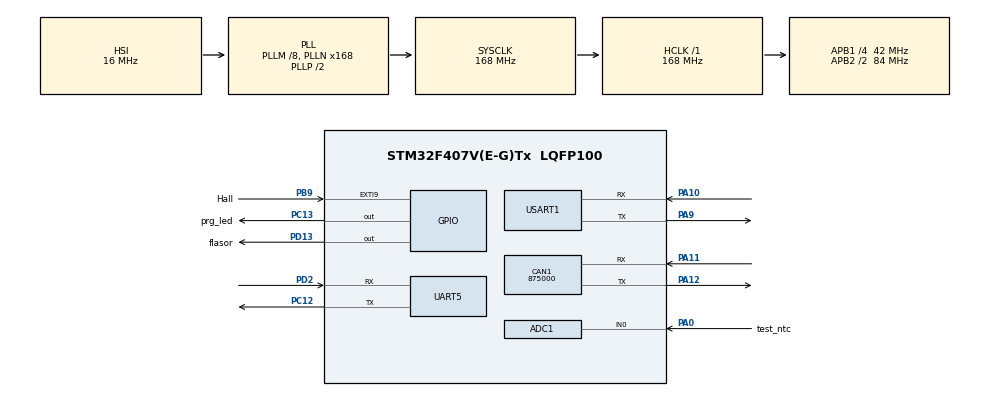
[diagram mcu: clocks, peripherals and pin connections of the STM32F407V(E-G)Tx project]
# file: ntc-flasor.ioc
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ADC1.Channel-0\#ChannelRegularConversion=ADC_CHANNEL_0
ADC1.NbrOfConversionFlag=1
ADC1.Rank-0\#ChannelRegularConversion=1
ADC1.SamplingTime-0\#ChannelRegularConversion=ADC_SAMPLETIME_3CYCLES
ADC1.master=1
CAN1.BS1=CAN_BS1_1TQ
CAN1.BS2=CAN_BS2_1TQ
CAN1.CalculateBaudRate=875000
CAN1.CalculateTimeBit=1142
CAN1.CalculateTimeQuantum=380.95238095238096
Mcu.Family=STM32F4
Mcu.Name=STM32F407V(E-G)Tx
Mcu.Package=LQFP100
NVIC.CAN1_RX0_IRQn=true\:0\:0\:false\:false\:true\:true\:true\:true
NVIC.PriorityGroup=NVIC_PRIORITYGROUP_4
PA0-WKUP.GPIO_Label=test_ntc
PA0-WKUP.Signal=ADCx_IN0
PA10.Mode=Asynchronous
PA10.Signal=USART1_RX
PA11.Mode=CAN_Activate
PA11.Signal=CAN1_RX
PA12.Mode=CAN_Activate
PA12.Signal=CAN1_TX
PA13.Mode=Serial_Wire
PA13.Signal=SYS_JTMS-SWDIO
PA14.Mode=Serial_Wire
PA14.Signal=SYS_JTCK-SWCLK
PA9.Mode=Asynchronous
PA9.Signal=USART1_TX
PB9.GPIO_Label=Hall
PB9.Signal=GPXTI9
PC12.Mode=Asynchronous
PC12.Signal=UART5_TX
PC13-ANTI_TAMP.GPIO_Label=prg_led
PC13-ANTI_TAMP.Signal=GPIO_Output
PD13.GPIO_Label=flasor
PD13.Signal=GPIO_Output
PD2.Mode=Asynchronous
PD2.Signal=UART5_RX
PH0-OSC_IN.Mode=HSE-External-Oscillator
PH0-OSC_IN.Signal=RCC_OSC_IN
PH1-OSC_OUT.Mode=HSE-External-Oscillator
PH1-OSC_OUT.Signal=RCC_OSC_OUT
ProjectManager.HeapSize=0x200
ProjectManager.StackSize=0x400
ProjectManager.TargetToolchain=STM32CubeIDE
RCC.48MHZClocksFreq_Value=84000000
RCC.AHBFreq_Value=168000000
RCC.APB1CLKDivider=RCC_HCLK_DIV4
RCC.APB1Freq_Value=42000000
RCC.APB1TimFreq_Value=84000000
RCC.APB2CLKDivider=RCC_HCLK_DIV2
RCC.APB2Freq_Value=84000000
RCC.APB2TimFreq_Value=168000000
RCC.CortexFreq_Value=168000000
RCC.HCLKFreq_Value=168000000
RCC.HSE_VALUE=25000000
RCC.HSI_VALUE=16000000
RCC.LSE_VALUE=32768
RCC.PLLM=8
RCC.PLLN=168
RCC.SYSCLKFreq_VALUE=168000000
RCC.SYSCLKSource=RCC_SYSCLKSOURCE_PLLCLK
RCC.VCOOutputFreq_Value=336000000
SH.ADCx_IN0.0=ADC1_IN0,IN0
UART5.VirtualMode=Asynchronous
USART1.VirtualMode=VM_ASYNC
VP_FATFS_VS_Generic.Mode=User_defined
board=custom

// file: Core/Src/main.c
/* USER CODE BEGIN Header */
/**
  ******************************************************************************
  * @file           : main.c
  * @brief          : Main program body
  ******************************************************************************
  * @attention
  *
  * Copyright (c) 2025 STMicroelectronics.
  * All rights reserved.
  *
  * This software is licensed under terms that can be found in the LICENSE file
  * in the root directory of this software component.
  * If no LICENSE file comes with this software, it is provided AS-IS.
  *
  ******************************************************************************
  */
/* USER CODE END Header */
#include "main.h"
#include "fatfs.h"

/* USER CODE BEGIN Includes */
#include <math.h>
#include<stdio.h>
#include<string.h>
#include<stdlib.h>
#include <time.h>
//#include "fatfs_sd.h"
#define ADC_COUNTS  (1<<12)
/* USER CODE END Includes */

ADC_HandleTypeDef hadc1;

CAN_HandleTypeDef hcan1;

UART_HandleTypeDef huart5;
UART_HandleTypeDef huart1;

/* USER CODE BEGIN PV */
uint16_t testTemp_analog;
float testTemp=0;

int sizedata;
int virgulOncesi;
int virgulSonrasi;
char datatxt[5];
//-----------------HALL DEGISKENLERI--------------------------------------------
uint32_t last_time = 0;        // onceki Hall sensoru tetiklenme hızı
uint32_t current_time = 0;     // su anki Hall sensoru tetiklenme zamanı
float time_diff = 0;           // ilk ve son zaman arası fark (saniye)
float frequency = 0;           // tekerlegin donus frekansı (Hz)
float rpm = 0;                 // RPM (dakikadaki devir sayısı)
float hall_speed = 0;               // Hız (km/saat)
//------------------------------------------------------------------------------
// Sabit veri iletim yapısını tanımlar.
typedef struct fixedStransmission
{
	uint8_t ADDH;
	uint8_t ADDL;
	uint8_t CHAN;
	unsigned char message[];
}FixedStransmission;
// Bu yapı için bellekten alan ayırır.
FixedStransmission *init_stack(int m){
	FixedStransmission *st = (FixedStransmission *)malloc(sizeof(FixedStransmission)+m*sizeof(int));
    return st;
}
uint32_t TxMailbox;//cande gönderilecek mesajların tutulduğu yer.

uint16_t motorTemp_analog;
float motorTemp;

uint8_t nextionEnd[3] = {0xFF,0xFF,0xFF};////her komut sonrasi gonderilmesi gerekir ekran bu sayede komutun bittigini anlar
//-----------sd kartta dosya işlemleri için gereken komutlar-------------------------
char fileName[20];
FRESULT res;
FATFS fs;  // file system
FIL fil; // File
FILINFO fno;
FRESULT fresult;  // result
UINT br, bw;  // File read/write count
//--------------------------------------------------------------------------------
/**** sd kart kapasitesi için gerekli *****/
FATFS *pfs;
DWORD fre_clust;
uint32_t total;
uint32_t free_space;

//---------------AKIM OLCUM DEGISKENLERI--------------------
char buffer[128];
    double Irms;
    double ICAL;
    int sampleI;
    double filteredI;
    double offsetI;                          //Low-pass filter output
    double sqI,sumI;            //sq = squared, sum = Sum, inst = instantaneous                                     //Instantaneous voltage at start of sample window.

   // boolean lastVCross, checkVCross;

//-----------AKI SENSORUNUN bağlı olduğu pin---------------------
unsigned int inPinI = 1;
double ICAL = 111.1;
double offsetI = ADC_COUNTS>>1;
//---------------------------------------------------------------

/* USER CODE END PV */

void SystemClock_Config(void);
static void MX_GPIO_Init(void);
static void MX_ADC1_Init(void);
static void MX_CAN1_Init(void);
static void MX_UART5_Init(void);
static void MX_USART1_UART_Init(void);
/* USER CODE BEGIN PFP */
double Thermistor(uint16_t analogValue);	//ntc sıcaklık verisinin fonksiyonu

void send_at_command(char *command, uint16_t delay);
void send_data_to_server(float voltages[20], float temperatures[6], float current, float speed, float energy, float voltage_sum);
void send_data_cont(float voltages[20], float temperatures[6], float current, float speed, float energy, float voltage_sum);

void getCAN1(CAN_RxHeaderTypeDef *RxHeader1, float *dataReceive);
void sendFixedMessage( uint8_t ADDH,uint8_t ADDL, uint8_t CHAN, const void *message, const uint8_t size);

void sendNextion();
uint8_t def_msb(float value);
uint8_t def_lsb(float value);
void txtNextion(char *location, float data);
void numNextion(char *location, int data);
void picNextion(char *location, int data);
void ppicNextion(char *location, int data);
void progbarNextion(char *location, int data);
void inttxtNextion(char *location, int data);
double calcIrms(unsigned int Number_of_Samples);
void create_new_file();

/* USER CODE END PFP */

/* USER CODE BEGIN 0 */
struct carData{
	  float voltage1;
	  float voltage2;
	  float voltage3;
	  float voltage4;
	  float voltage5;
	  float voltage6;
	  float voltage7;
	  float voltage8;
	  float voltage9;
	  float voltage10;
	  float voltage11;
	  float voltage12;
	  float voltage13;
	  float voltage14;
	  float voltage15;
	  float voltage16;
	  float voltage17;
	  float voltage18;
	  float voltage19;
	  float voltage20;
	  float totalVoltage;
	  float batteryTemp1;
	  float batteryTemp2;
	  float batteryTemp3;
	  float batteryTemp4;
	  float testTemp;
	  float motorTemp;
	  float speed;
	  float current;
	  float remainEnergy;
}data1;

uint8_t rxBuffer[128];
uint8_t rxIndex = 0;
uint8_t rxData = 0;

//--------CAN MESAJ ALIMI------------------------------
void HAL_CAN_RxFifo0MsgPendingCallback(CAN_HandleTypeDef *hcan)
{
    CAN_RxHeaderTypeDef RxHeader1;
    float dataReceive[2];
    HAL_GPIO_WritePin(prg_led_GPIO_Port, prg_led_Pin, 1);

    if (HAL_CAN_GetRxMessage(hcan, CAN_RX_FIFO0, &RxHeader1, dataReceive) == HAL_OK)
    {
        getCAN1(&RxHeader1, dataReceive);
    }

}
//---------------HALL SENSORU-----------------------------------------------------------
void HAL_GPIO_EXTI_Callback(uint16_t GPIO_Pin) {
    if (GPIO_Pin == Hall_Pin) {  // Hall sensÃ¶rÃ¼ GPIO_PIN_0'da baÄŸlÄ±

        // Zaman damgasini al (milisaniye cinsinden)
        current_time = HAL_GetTick();  // Timer'dan gelen saniyeyi al (ms cinsinden)

        // Eger daha önce bir tetikleme olduysa, zaman farkini hesapla
        if (last_time != 0) {
            // Zaman farkini milisaniyeden saniyeye cevir
            time_diff = (current_time - last_time) / 1000.0;  // ms -> saniye

            // frekansi hesapla (frekans = 1 / zaman farki)
            frequency = 1.0 / time_diff;

            // RPM'yi hesapla (frekans * 60)
            rpm = frequency * 60.0;

            // hizi hesapla (hiz = cevre * frekans) ve km/saat'e cevir
            hall_speed = (1.35 * frequency) * 3.6;

            // hiz ve RPM degerlerini terminale yazdir
            //printf("Hiz: %.2f km/h, RPM: %.2f\r\n", speed, rpm);
        }

        // su anki zamani "last_time" olarak guncelle
        last_time = current_time;
    }
}

/* USER CODE END 0 */

int main(void)
{

  /* MCU Configuration--------------------------------------------------------*/

  /* Reset of all peripherals, Initializes the Flash interface and the Systick. */
  HAL_Init();

  /* Configure the system clock */
  SystemClock_Config();

  /* Initialize all configured peripherals */
  MX_GPIO_Init();
  MX_ADC1_Init();
  MX_CAN1_Init();
  MX_UART5_Init();
  MX_USART1_UART_Init();
  MX_FATFS_Init();
  /* USER CODE BEGIN 2 */

  data1.testTemp = 0;
  data1.totalVoltage = 0;
  data1.batteryTemp1= 0;
  data1.batteryTemp2 = 0;
  data1.batteryTemp3 = 0;
  data1.batteryTemp4 = 0;

  create_new_file();

    HAL_CAN_Start(&hcan1);
    HAL_CAN_ActivateNotification(&hcan1, CAN_IT_RX_FIFO0_MSG_PENDING);
   // lwgps_init(&gps);
    HAL_UART_Receive_IT(&huart5, &rxData, 1);

//----------------SERVERE İLK GÖNDERİM (99.99)------------------------------------
  float voltages[20] = {
         	             99.99, 99.99, 99.99, 99.99, 99.99, 99.99, 99.99, 99.99, 99.99, 99.99,
         	             99.99, 99.99, 99.99, 99.99, 99.99, 99.99, 99.99, 99.99, 99.99, 99.99};

         	  float temperatures[6] = {99.99, 99.99, 99.99, 99.99, 99.99, 99.99};
         	  float current = 99.99;
         	  float speed = 99.99;
         	  float energy = 99.99;
         	  float voltage_sum = 99.99;

     srand(HAL_GetTick());
     send_data_to_server(voltages, temperatures, current, speed, energy, voltage_sum);
     HAL_Delay(1000);
//-----------------------------------------------------------------------------------------------------
  /* USER CODE END 2 */

  /* Infinite loop */
  while (1)
  {

    /* USER CODE BEGIN 3 */
//---------------------ADC BASLANGIC---------------------------------------------------------------------------------------
	  HAL_ADC_Start(&hadc1);
	  HAL_ADC_PollForConversion(&hadc1, HAL_MAX_DELAY);
	  testTemp_analog = HAL_ADC_GetValue(&hadc1);
	  data1.testTemp = Thermistor(testTemp_analog);
	  HAL_ADC_Stop(&hadc1);
//------------------------------------------------------------------------------------------------------------------------
//------------------PRORAMLANABİLİR LED------------------------------------------------
	  HAL_GPIO_WritePin(prg_led_GPIO_Port, prg_led_Pin, 1);
	  HAL_Delay(100);
//--------------------------------------------------------------------------------------
//--------------------TEST SICAKLIGINA GORE FLASOR YANMASI--------------------------------------
	  if(data1.testTemp<0){
	  	data1.testTemp = 0;
	  }
	  else{
		  data1.testTemp = data1.testTemp;
	  	 }

	  	if(data1.testTemp>65){

	  HAL_GPIO_WritePin(flasor_GPIO_Port, flasor_Pin, 1);

		  }
 	  		  else{

	  HAL_GPIO_WritePin(flasor_GPIO_Port, flasor_Pin, 0);
	    }
//--------------------------------------------------------------------------------------------
	  data1.speed=hall_speed;// HALL EFFECT
//-------------------GSM GÖNDERİM---------------------------------
	  float voltages[20] = {
	  	((float)(rand()%40)), ((float)(rand()%40)), ((float)(rand()%40)), ((float)(rand()%40)), ((float)(rand()%40)), ((float)(rand()%40)), ((float)(rand()%40)), ((float)(rand()%40)), ((float)(rand()%40)), ((float)(rand()%40)),
	  	 		((float)(rand()%40)), ((float)(rand()%40)), ((float)(rand()%40)), ((float)(rand()%40)), ((float)(rand()%40)), ((float)(rand()%40)), ((float)(rand()%40)), ((float)(rand()%40)), ((float)(rand()%40))};

	  	float temperatures[6] = {22.3, 23.0, 21.8, 22.5, data1.testTemp, 22.9};
	  	float current = (5+(float)(rand()%30));
	  	float speed = (data1.speed);
	  	float energy = (60+(float)(rand()%102));
	  	float voltage_sum = 250.0;

	 send_data_cont(voltages, temperatures, current, speed, energy, voltage_sum);
	  	 		 	  	    	  //HAL_Delay(10);

	  uint32_t a = HAL_GetTick();;
	  HAL_Delay(50);

//---------------SD KART DOSYA EKLEME----------------------------------------------------------------------------------------------------------

	 	 f_mount(&fs, "", 0);
	 	  f_open(&fil, fileName, FA_OPEN_ALWAYS | FA_WRITE | FA_READ);
	 	  f_lseek(&fil,f_size(&fil));
	 	  //"zaman_ms; hiz_km/h; sicaklik_C; toplamVoltaj_V; kalanEnerji_%\n"
	 	  snprintf(buffer, sizeof(buffer), "%-8lu; %-8d; %-10.2f; %-14.2f; %-13d\n",a,(int)data1.speed,data1.testTemp, data1.totalVoltage,(int)data1.remainEnergy);

	 	  fresult = f_puts(buffer,&fil);
	 	  f_close(&fil);
//--------------------------------------------------------------------------------------------------------------------

	 	 sizedata = sizeof(data1);
	 	 	  sendFixedMessage(0, 2, 25, &data1, sizedata);//CAN PAKETI OLUŞTUTUR VE GONDERIR
	 	 	  sendNextion();//NEXTIONA GONDERİR
//--------------------------------------------------------------------------------------------------------------------
  }
  /* USER CODE END 3 */
}

void SystemClock_Config(void)
{
  RCC_OscInitTypeDef RCC_OscInitStruct = {0};
  RCC_ClkInitTypeDef RCC_ClkInitStruct = {0};

  /** Configure the main internal regulator output voltage
  */
  __HAL_RCC_PWR_CLK_ENABLE();
  __HAL_PWR_VOLTAGESCALING_CONFIG(PWR_REGULATOR_VOLTAGE_SCALE1);

  /** Initializes the RCC Oscillators according to the specified parameters
  * in the RCC_OscInitTypeDef structure.
  */
  RCC_OscInitStruct.OscillatorType = RCC_OSCILLATORTYPE_HSI;
  RCC_OscInitStruct.HSIState = RCC_HSI_ON;
  RCC_OscInitStruct.HSICalibrationValue = RCC_HSICALIBRATION_DEFAULT;
  RCC_OscInitStruct.PLL.PLLState = RCC_PLL_ON;
  RCC_OscInitStruct.PLL.PLLSource = RCC_PLLSOURCE_HSI;
  RCC_OscInitStruct.PLL.PLLM = 8;
  RCC_OscInitStruct.PLL.PLLN = 168;
  RCC_OscInitStruct.PLL.PLLP = RCC_PLLP_DIV2;
  RCC_OscInitStruct.PLL.PLLQ = 4;
  if (HAL_RCC_OscConfig(&RCC_OscInitStruct) != HAL_OK)
  {
    Error_Handler();
  }

  /** Initializes the CPU, AHB and APB buses clocks
  */
  RCC_ClkInitStruct.ClockType = RCC_CLOCKTYPE_HCLK|RCC_CLOCKTYPE_SYSCLK
                              |RCC_CLOCKTYPE_PCLK1|RCC_CLOCKTYPE_PCLK2;
  RCC_ClkInitStruct.SYSCLKSource = RCC_SYSCLKSOURCE_PLLCLK;
  RCC_ClkInitStruct.AHBCLKDivider = RCC_SYSCLK_DIV1;
  RCC_ClkInitStruct.APB1CLKDivider = RCC_HCLK_DIV4;
  RCC_ClkInitStruct.APB2CLKDivider = RCC_HCLK_DIV2;

  if (HAL_RCC_ClockConfig(&RCC_ClkInitStruct, FLASH_LATENCY_5) != HAL_OK)
  {
    Error_Handler();
  }
}

static void MX_ADC1_Init(void)
{

  ADC_ChannelConfTypeDef sConfig = {0};

  /** Configure the global features of the ADC (Clock, Resolution, Data Alignment and number of conversion)
  */
  hadc1.Instance = ADC1;
  hadc1.Init.ClockPrescaler = ADC_CLOCK_SYNC_PCLK_DIV4;
  hadc1.Init.Resolution = ADC_RESOLUTION_12B;
  hadc1.Init.ScanConvMode = DISABLE;
  hadc1.Init.ContinuousConvMode = DISABLE;
  hadc1.Init.DiscontinuousConvMode = DISABLE;
  hadc1.Init.ExternalTrigConvEdge = ADC_EXTERNALTRIGCONVEDGE_NONE;
  hadc1.Init.ExternalTrigConv = ADC_SOFTWARE_START;
  hadc1.Init.DataAlign = ADC_DATAALIGN_RIGHT;
  hadc1.Init.NbrOfConversion = 1;
  hadc1.Init.DMAContinuousRequests = DISABLE;
  hadc1.Init.EOCSelection = ADC_EOC_SINGLE_CONV;
  if (HAL_ADC_Init(&hadc1) != HAL_OK)
  {
    Error_Handler();
  }

  /** Configure for the selected ADC regular channel its corresponding rank in the sequencer and its sample time.
  */
  sConfig.Channel = ADC_CHANNEL_0;
  sConfig.Rank = 1;
  sConfig.SamplingTime = ADC_SAMPLETIME_3CYCLES;
  if (HAL_ADC_ConfigChannel(&hadc1, &sConfig) != HAL_OK)
  {
    Error_Handler();
  }

}

static void MX_CAN1_Init(void)
{

  hcan1.Instance = CAN1;
  hcan1.Init.Prescaler = 16;
  hcan1.Init.Mode = CAN_MODE_NORMAL;
  hcan1.Init.SyncJumpWidth = CAN_SJW_1TQ;
  hcan1.Init.TimeSeg1 = CAN_BS1_1TQ;
  hcan1.Init.TimeSeg2 = CAN_BS2_1TQ;
  hcan1.Init.TimeTriggeredMode = DISABLE;
  hcan1.Init.AutoBusOff = DISABLE;
  hcan1.Init.AutoWakeUp = DISABLE;
  hcan1.Init.AutoRetransmission = DISABLE;
  hcan1.Init.ReceiveFifoLocked = DISABLE;
  hcan1.Init.TransmitFifoPriority = DISABLE;
  if (HAL_CAN_Init(&hcan1) != HAL_OK)
  {
    Error_Handler();
  }

}

static void MX_UART5_Init(void)
{

  huart5.Instance = UART5;
  huart5.Init.BaudRate = 115200;
  huart5.Init.WordLength = UART_WORDLENGTH_8B;
  huart5.Init.StopBits = UART_STOPBITS_1;
  huart5.Init.Parity = UART_PARITY_NONE;
  huart5.Init.Mode = UART_MODE_TX_RX;
  huart5.Init.HwFlowCtl = UART_HWCONTROL_NONE;
  huart5.Init.OverSampling = UART_OVERSAMPLING_16;
  if (HAL_UART_Init(&huart5) != HAL_OK)
  {
    Error_Handler();
  }

}

static void MX_USART1_UART_Init(void)
{

  huart1.Instance = USART1;
  huart1.Init.BaudRate = 115200;
  huart1.Init.WordLength = UART_WORDLENGTH_8B;
  huart1.Init.StopBits = UART_STOPBITS_1;
  huart1.Init.Parity = UART_PARITY_NONE;
  huart1.Init.Mode = UART_MODE_TX_RX;
  huart1.Init.HwFlowCtl = UART_HWCONTROL_NONE;
  huart1.Init.OverSampling = UART_OVERSAMPLING_16;
  if (HAL_UART_Init(&huart1) != HAL_OK)
  {
    Error_Handler();
  }

}

static void MX_GPIO_Init(void)
{
  GPIO_InitTypeDef GPIO_InitStruct = {0};

  /* GPIO Ports Clock Enable */
  __HAL_RCC_GPIOC_CLK_ENABLE();
  __HAL_RCC_GPIOH_CLK_ENABLE();
  __HAL_RCC_GPIOA_CLK_ENABLE();
  __HAL_RCC_GPIOD_CLK_ENABLE();
  __HAL_RCC_GPIOB_CLK_ENABLE();

  /*Configure GPIO pin Output Level */
  HAL_GPIO_WritePin(prg_led_GPIO_Port, prg_led_Pin, GPIO_PIN_RESET);

  /*Configure GPIO pin Output Level */
  HAL_GPIO_WritePin(flasor_GPIO_Port, flasor_Pin, GPIO_PIN_RESET);

  /*Configure GPIO pin : prg_led_Pin */
  GPIO_InitStruct.Pin = prg_led_Pin;
  GPIO_InitStruct.Mode = GPIO_MODE_OUTPUT_PP;
  GPIO_InitStruct.Pull = GPIO_NOPULL;
  GPIO_InitStruct.Speed = GPIO_SPEED_FREQ_LOW;
  HAL_GPIO_Init(prg_led_GPIO_Port, &GPIO_InitStruct);

  /*Configure GPIO pin : flasor_Pin */
  GPIO_InitStruct.Pin = flasor_Pin;
  GPIO_InitStruct.Mode = GPIO_MODE_OUTPUT_PP;
  GPIO_InitStruct.Pull = GPIO_NOPULL;
  GPIO_InitStruct.Speed = GPIO_SPEED_FREQ_LOW;
  HAL_GPIO_Init(flasor_GPIO_Port, &GPIO_InitStruct);

  /*Configure GPIO pin : Hall_Pin */
  GPIO_InitStruct.Pin = Hall_Pin;
  GPIO_InitStruct.Mode = GPIO_MODE_IT_RISING;
  GPIO_InitStruct.Pull = GPIO_NOPULL;
  HAL_GPIO_Init(Hall_GPIO_Port, &GPIO_InitStruct);

}

/* USER CODE BEGIN 4 */
//------------------CAN VERILERI ALMA------------------------------------------------------------------
void getCAN1(CAN_RxHeaderTypeDef *RxHeader1, float *dataReceive) {

	//HAL_CAN_GetRxMessage(&hcan1, CAN_RX_FIFO0, &RxHeader1, dataReceive);
	switch (RxHeader1->ExtId) {
		case 0x0FFFFFF0:
			data1.voltage1 = dataReceive[0];
			data1.voltage2 = dataReceive[1];
			data1.voltage11 = dataReceive[0]*1.02;
			data1.voltage12 = dataReceive[1]*0.97;
			break;
		case 0x0FFFFFF1:
			data1.voltage3 = dataReceive[0];
			data1.voltage4 = dataReceive[1];
			data1.voltage13 = dataReceive[0]*1.01;
			data1.voltage14 = dataReceive[1]*1.02;
			break;
		case 0x0FFFFFF2:
			data1.voltage5 = dataReceive[0];
			data1.voltage6 = dataReceive[1];
			data1.voltage15 = dataReceive[0]*0.99;
			data1.voltage16 = dataReceive[1]*1.01;
			break;
		case 0x0FFFFFF3:
			data1.voltage7 = dataReceive[0];
			data1.voltage8 = dataReceive[1];
			data1.voltage17 = dataReceive[0]*1.02;
			data1.voltage18 = dataReceive[1]*1.01;
			break;
		case 0x0FFFFFF4:
			data1.voltage9 = dataReceive[0];
			data1.voltage10 = dataReceive[1];
			data1.voltage19 = dataReceive[0]*1.01;
			data1.voltage20 = dataReceive[1]*0.99;
			break;
		case 0x0FFFFFF5:
			data1.batteryTemp1 = dataReceive[0];
			data1.batteryTemp2 = dataReceive[1];
			data1.batteryTemp3 = dataReceive[0]*1.1;
			data1.batteryTemp4 = dataReceive[1]*1.08;
			break;
		case 0x0FFFFFF6:
	//		iz_res = dataReceive[0];
		//	ek_res = dataReceive[1];
			break;
			/*
		case 0x0FFFFFE0:
			data1.voltage11 = dataReceive[0];
			data1.voltage12 = dataReceive[1];
			break;
		case 0x0FFFFFE1:
			data1.voltage13 = dataReceive[0];
			data1.voltage14 = dataReceive[1];
			break;
		case 0x0FFFFFE2:
			data1.voltage15 = dataReceive[0];
			data1.voltage16 = dataReceive[1];
			break;
		case 0x0FFFFFE3:
			data1.voltage17 = dataReceive[0];
			data1.voltage18 = dataReceive[1];
			break;
		case 0x0FFFFFE4:
			data1.voltage19 = dataReceive[0];
			data1.voltage20 = dataReceive[1];
			break;
		case 0x0FFFFFE5:
			data1.batteryTemp3 = dataReceive[0];
			data1.batteryTemp4 = dataReceive[1];
			break;
			*/
		default:
			// Handle unexpected ID
			break;
		}

	}
//----------------------------NTC sensor fonksiyonu---------------------------------

double Thermistor(uint16_t analogValue){
    // SÄ±fÄ±ra bÃ¶lme hatasÄ±nÄ± Ã¶nlemek iÃ§in kontrol ekleyin
    if (analogValue == 0) {
        return 0; // Hata durumunda dÃ¼ÅŸÃ¼k bir sÄ±caklÄ±k dÃ¶ndÃ¼rÃ¼n
    }

    // ADC Ã§Ã¶zÃ¼nÃ¼rlÃ¼ÄŸÃ¼ ve direnÃ§ hesaplamasÄ±
    double resistance = ((40950000.0 / analogValue) - 10000);
    double temperature;

    // DirenÃ§ logaritmasÄ±nÄ± alÄ±n
    temperature = log(resistance);

    // SÄ±caklÄ±k hesaplamasÄ± (Steinhart-Hart denklemi)
    temperature = 1 / (0.001129148 + (0.000234125 + (0.0000000876741 * temperature * temperature)) * temperature);
    temperature = temperature - 273.15;

    return temperature;
}
//-------------------------------------------------------------------
//----------------------GSM FONKSIYONLARI--------------------------------------------------
void send_at_command(char *command, uint16_t delay) {
    HAL_UART_Transmit(&huart5, (uint8_t *)command, strlen(command), HAL_MAX_DELAY);
    HAL_Delay(1000); // SIM808'den cevap beklemek iÃ§in gecikme
}

void send_data_cont(float voltages[20], float temperatures[6], float current, float speed, float energy, float voltage_sum){
	char http_data[64];
	char json_payload[1024];
	sprintf(json_payload,"{\"v1\": %.2f, \"v2\": %.2f, \"v3\": %.2f, \"v4\": %.2f, "
            "\"v5\": %.2f, \"v6\": %.2f, \"v7\": %.2f, \"v8\": %.2f, "
            "\"v9\": %.2f, \"v10\": %.2f, \"v11\": %.2f, \"v12\": %.2f, "
            "\"v13\": %.2f, \"v14\": %.2f, \"v15\": %.2f, \"v16\": %.2f, "
            "\"v17\": %.2f, \"v18\": %.2f, \"v19\": %.2f, \"v20\": %.2f, "
            "\"vt\": %.2f, \"s1\": %.2f, \"s2\": %.2f, "
            "\"s3\": %.2f, \"s4\": %.2f, \"s5\": %.2f, \"s6\": %.2f, "
            "\"a\": %.2f, \"h\": %.2f, \"kE\": %.2f}",
            voltages[0], voltages[1], voltages[2], voltages[3], voltages[4],
            voltages[5], voltages[6], voltages[7], voltages[8], voltages[9],
            voltages[10], voltages[11], voltages[12], voltages[13], voltages[14],
            voltages[15], voltages[16], voltages[17], voltages[18], voltages[19],
            voltage_sum, temperatures[0], temperatures[1], temperatures[2],
            temperatures[3], temperatures[4], temperatures[5], current, speed, energy);
	sprintf(http_data, "AT+HTTPDATA=%d,5000\r\n", strlen(json_payload));
    send_at_command(http_data, 100);
    send_at_command(json_payload, 100);

    // POST isteÄŸi gÃ¶nder
    send_at_command("AT+HTTPACTION=1\r\n", 100); // 1: POST
    HAL_Delay(1000); // Veriyi gÃ¶ndermek iÃ§in biraz zaman tanÄ±

}

void send_data_to_server(float voltages[20], float temperatures[6], float current, float speed, float energy, float voltage_sum) {
    char apn_setup[64];
    char http_init[32];
    char http_start[128];
    char http_data[64];
    char json_payload[2048];

    // JSON payload
    sprintf(json_payload,"{\"v1\": %.2f, \"v2\": %.2f, \"v3\": %.2f, \"v4\": %.2f, "
            "\"v5\": %.2f, \"v6\": %.2f, \"v7\": %.2f, \"v8\": %.2f, "
            "\"v9\": %.2f, \"v10\": %.2f, \"v11\": %.2f, \"v12\": %.2f, "
            "\"v13\": %.2f, \"v14\": %.2f, \"v15\": %.2f, \"v16\": %.2f, "
            "\"v17\": %.2f, \"v18\": %.2f, \"v19\": %.2f, \"v20\": %.2f, "
            "\"vt\": %.2f, \"s1\": %.2f, \"s2\": %.2f, "
            "\"s3\": %.2f, \"s4\": %.2f, \"s5\": %.2f, \"s6\": %.2f, "
            "\"a\": %.2f, \"h\": %.2f, \"kE\": %.2f}",
            voltages[0], voltages[1], voltages[2], voltages[3], voltages[4],
            voltages[5], voltages[6], voltages[7], voltages[8], voltages[9],
            voltages[10], voltages[11], voltages[12], voltages[13], voltages[14],
            voltages[15], voltages[16], voltages[17], voltages[18], voltages[19],
            voltage_sum, temperatures[0], temperatures[1], temperatures[2],
            temperatures[3], temperatures[4], temperatures[5], current, speed, energy);

    // SIM808 baÅŸlatma
    send_at_command("AT\r\n", 1000); // AT komutuyla modÃ¼lÃ¼ kontrol et
    send_at_command("AT+SAPBR=3,1,\"CONTYPE\",\"GPRS\"\r\n", 1000); // GPRS yapÄ±landÄ±rmasÄ±
    sprintf(apn_setup, "AT+SAPBR=3,1,\"APN\",\"internet\"\r\n"); // APN'i "internet" olarak ayarla
    send_at_command(apn_setup, 1000);
    send_at_command("AT+SAPBR=1,1\r\n", 1000); // GPRS oturumunu baÅŸlat

    // HTTP baÅŸlatma
    send_at_command("AT+HTTPINIT\r\n", 1000); // HTTP baÅŸlat
    sprintf(http_init, "AT+HTTPPARA=\"CID\",1\r\n");
    send_at_command(http_init, 1000);
    send_at_command("AT+HTTPPARA=\"CONTENT\",\"application/json\"\r\n", 1000);//FORMATI BELÄ°RTÄ°YOR
    sprintf(http_start, "AT+HTTPPARA=\"URL\",\"http://maveratelemetry.somee.com/api/SensorData\"\r\n"); //post adresi
    send_at_command(http_start, 1000);

    // JSON iÃ§eriÄŸi gÃ¶nderme
    sprintf(http_data, "AT+HTTPDATA=%d,10000\r\n", strlen(json_payload));
    send_at_command(http_data, 1000);
    send_at_command(json_payload, 1000);

    // POST isteÄŸi gÃ¶nder
    send_at_command("AT+HTTPACTION=1\r\n", 1000); // 1: POST
    HAL_Delay(5000); // Veriyi gÃ¶ndermek iÃ§in biraz zaman tanÄ±

    // HTTP sonlandÄ±rma
    //send_at_command("AT+HTTPREAD\r\n", 1000);
    //send_at_command("AT+HTTPTERM\r\n", 1000);
   // HTTP oturumunu kapat
//--------------UART İLE HABERLEŞME(AMA KİM İLE ??--LORA GİBİ--)-------------------------------------
    void sendFixedMessage( uint8_t ADDH,uint8_t ADDL, uint8_t CHAN, const void *message, const uint8_t size){

    		FixedStransmission *fixedStransmission = init_stack(size);

    		fixedStransmission->ADDH = ADDH;
    		fixedStransmission->ADDL = ADDL;
    		fixedStransmission->CHAN = CHAN;

    		memcpy(fixedStransmission->message,(unsigned char*)message,size);

    		HAL_UART_Transmit(&huart1, (uint8_t *)fixedStransmission, size+3, 1000);
    		HAL_Delay(100);

    		free(fixedStransmission);
    	}
//----------NEXTION---------------------------------
	void sendNextion(){
		 //HAL_Delay(10);

		 txtNextion("t1",data1.batteryTemp1);
		 txtNextion("t2",data1.batteryTemp2);
		 txtNextion("t3",data1.batteryTemp3);
		 txtNextion("t4",data1.batteryTemp4);
		 txtNextion("t5",data1.testTemp);
		 if (data1.batteryTemp1 >= 65 || data1.batteryTemp2 >= 65 || data1.batteryTemp3 >= 65 || data1.batteryTemp4 >= 65 || data1.testTemp >= 65) {
		     int alert_pic = 68;
		     picNextion("p2",alert_pic);
		   }
		 else {
		     int alert_pic = 67;
		     picNextion("p2",alert_pic);
		   }
		 txtNextion("t6",data1.motorTemp);
		 txtNextion("t7",data1.voltage1);
		 txtNextion("t8",data1.voltage2);
		 txtNextion("t9",data1.voltage3);
		 txtNextion("t10",data1.voltage4);
		 txtNextion("t11",data1.voltage5);
		 txtNextion("t12",data1.voltage6);
		 txtNextion("t13",data1.voltage7);
		 txtNextion("t14",data1.voltage8);
		 txtNextion("t15",data1.voltage9);
		 txtNextion("t16",data1.voltage10);
		 txtNextion("t17",data1.voltage11);
		 txtNextion("t18",data1.voltage12);
		 txtNextion("t19",data1.voltage13);
		 txtNextion("t20",data1.voltage14);
		 txtNextion("t21",data1.voltage15);
		 txtNextion("t22",data1.voltage16);
		 txtNextion("t23",data1.voltage17);
		 txtNextion("t24",data1.voltage18);
		 txtNextion("t25",data1.voltage19);
		 txtNextion("t26",data1.voltage20);
		 txtNextion("t27",data1.totalVoltage);
		 txtNextion("t28",data1.current);
		 inttxtNextion("t29",(int)data1.remainEnergy);
		 if (data1.remainEnergy <= 100 && data1.remainEnergy > 60) {
		     int ppic = 66;
		     ppicNextion("j0", ppic);
		   }
		 else if (data1.remainEnergy <= 60 && data1.remainEnergy > 40) {
		     int ppic = 65;
		     ppicNextion("j0", ppic);
		   }
		 else if (data1.remainEnergy <= 40 && data1.remainEnergy > 0) {
		     int ppic = 64;
		     ppicNextion("j0", ppic);
		   }
		 progbarNextion("j0", (int)data1.remainEnergy);
	//	 numNextion("n2", (int)gps.sats_in_use);
		 if(fresult>0 && fresult<254){
			 picNextion("p3",70); // SD kart
		 }
		 else{
			 picNextion("p3",69); // SD kart
		 }

	//	 txtNextion("t31",iz_res);
	//	 txtNextion("t32",ek_res);
		 //HAL_Delay(10);
//----------------------------NextionEnd---------------------------------
	}

	uint8_t def_msb(float value){
		virgulOncesi = (int)value; // VirgÃ¼l Ã¶ncesi kÄ±smÄ± almak iÃ§in sayÄ±nÄ±n tam kÄ±smÄ±nÄ± elde ediyoruz
		return virgulOncesi;
	}
	uint8_t def_lsb(float value){
		virgulOncesi = (int)value; // VirgÃ¼l Ã¶ncesi kÄ±smÄ± almak iÃ§in sayÄ±nÄ±n tam kÄ±smÄ±nÄ± elde ediyoruz
		virgulSonrasi = (int)((value - virgulOncesi) * 100); // VirgÃ¼l sonrasÄ± kÄ±smÄ±nÄ± elde etmek iÃ§in float deÄŸerinden virgÃ¼l Ã¶ncesi kÄ±smÄ±nÄ± Ã§Ä±karÄ±p 1000 ile Ã§arpmak yeterlidir
		return virgulSonrasi;
	}

	void txtNextion(char *location, float data){

		char text[50];

		virgulOncesi = def_msb(data); // VirgÃ¼l Ã¶ncesi kÄ±smÄ± almak iÃ§in sayÄ±nÄ±n tam kÄ±smÄ±nÄ± elde ediyoruz
		virgulSonrasi = def_lsb(data);
		if(virgulSonrasi <10){
			sprintf(datatxt,"%d.0%d",virgulOncesi,virgulSonrasi);
		}
		else{
			sprintf(datatxt,"%d.%d",virgulOncesi,virgulSonrasi);
		}

		int length = sprintf(text,"%s.txt=\"%s\"",location, datatxt);
		HAL_UART_Transmit(&huart1, (uint8_t *)text, length, 50);
		HAL_UART_Transmit(&huart1, (uint8_t *)nextionEnd, 3, 50);

		//memset(text, '\0', sizeof(text));
	}

	/*
void txtNextion(char *location, float data){

	char text[50];
	char sdata[8];
	sprintf(sdata,"%2.2f",data);
	sprintf(text,"%s.txt=\"%s\"",location,sdata);
	HAL_UART_Transmit(&huart2, (uint8_t *)text, sizeof(text), 1000);
	HAL_UART_Transmit(&huart2, (uint8_t *)nextionEnd, 3, 100);
	//memset(text, '\0', sizeof(text));
}
*/
	void numNextion(char *location, int data){

		char text[50];

		int length = sprintf(text,"%s.val=%d",location,data);
		HAL_UART_Transmit(&huart1, (uint8_t *)text, length, 50);
		HAL_UART_Transmit(&huart1, (uint8_t *)nextionEnd, 3, 50);
		//memset(text, '\0', sizeof(text));
	}
	void picNextion(char *location, int data){
		char text[50];

		int length = sprintf(text,"%s.pic=%d",location,data);
		HAL_UART_Transmit(&huart1, (uint8_t *)text, length, 50);
		HAL_UART_Transmit(&huart1, (uint8_t *)nextionEnd, 3, 50);
		//memset(text, '\0', sizeof(text));

	}
	void ppicNextion(char *location, int data){
		char text[50];

		int length = sprintf(text,"%s.ppic=%d",location,data);
		HAL_UART_Transmit(&huart1, (uint8_t *)text, length, 50);
		HAL_UART_Transmit(&huart1, (uint8_t *)nextionEnd, 3, 50);
		//memset(text, '\0', sizeof(text));
	}
	void progbarNextion(char *location, int data){
		char text[50];

		int length = sprintf(text,"%s.val=%d",location,data);
		HAL_UART_Transmit(&huart1, (uint8_t *)text, length, 50);
		HAL_UART_Transmit(&huart1, (uint8_t *)nextionEnd, 3, 50);
		//memset(text, '\0', sizeof(text));
	}
	void inttxtNextion(char *location, int data){

		char text[50];
		//sprintf(sdata,"%f",data);
		int length = sprintf(text,"%s.txt=\"%d\"",location,data);
		HAL_UART_Transmit(&huart1, (uint8_t *)text, length, 50);
		HAL_UART_Transmit(&huart1, (uint8_t *)nextionEnd, 3, 50);
		//memset(text, '\0', sizeof(text));
	}
//-------------------AKIM HESAPLAMA----------------------------------------------------------
	double calcIrms(unsigned int Number_of_Samples){
	   int SupplyVoltage = 3.3;

	  for (unsigned int n = 0; n < Number_of_Samples; n++)
	  {
		  HAL_ADC_Start(&hadc1);
		  HAL_ADC_PollForConversion(&hadc1, 1000);
	  	  sampleI = HAL_ADC_GetValue(&hadc1);
	  	  HAL_ADC_Stop(&hadc1);
	    // Digital low pass filter extracts the 2.5 V or 1.65 V dc offset,
	    //  then subtract this - signal is now centered on 0 counts.
	     offsetI = (offsetI + (sampleI-offsetI)/4095);
	     filteredI = sampleI - offsetI;

	    // Root-mean-square method current
	    // 1) square current values
	     sqI = filteredI * filteredI;
	    // 2) sum
	     sumI = sumI + sqI;
	  }

	   double I_RATIO = ICAL *((SupplyVoltage/1000.0) / (ADC_COUNTS));
	   Irms = I_RATIO * sqrt(sumI / Number_of_Samples);

	  //Reset accumulators
	  sumI = 0;
	  //--------------------------------------------------------------------------------------

	  return Irms;
	}
//----------SD KART DOSYA OLUŞTURMA--------------------------------------------
	void create_new_file(){
	    FRESULT res;
	    int s = 0;
	    FILINFO fno;
	    int is_file_exist = 1;

	    f_mount(&fs, "", 0);

	    while (is_file_exist) {
	        s++;
	        if (snprintf(fileName, sizeof(fileName), "values%d.txt", s) >= sizeof(fileName)) {
	            // Dosya adÄ± Ã§ok uzun, hata iÅŸle
	            return; // Hata durumunda fonksiyondan Ã§Ä±k
	        }

	        // DosyanÄ±n var olup olmadÄ±ÄŸÄ±nÄ± kontrol et
	        res = f_stat(fileName, &fno);
	        if (res == FR_OK) {
	            is_file_exist = 1; // Dosya mevcut
	        } else if (res == FR_NO_FILE) {
	            is_file_exist = 0; // Dosya mevcut deÄŸil
	        } else {
	            // DiÄŸer hata durumlarÄ±
	            // Hata iÅŸleme kodlarÄ± buraya eklenebilir
	            return; // Hata durumunda fonksiyondan Ã§Ä±k
	        }
	    }

	    if (!is_file_exist) {
	        // Yeni dosya olusturma
	        res = f_open(&fil, fileName, FA_CREATE_NEW | FA_WRITE);
	        if (res == FR_OK) {
	            // Dosya baÅŸarÄ±lÄ± bir ÅŸekilde oluÅŸturuldu ve aÃ§Ä±ldÄ±
	            const char* header = "zaman_ms; hiz_km/h; sicaklik_C; toplamVoltaj_V; kalanEnerji_%\n";
	            if (f_puts(header, &fil) < 0) {
	                // BaÅŸlÄ±k yazma baÅŸarÄ±sÄ±z, hata iÅŸle
	                f_close(&fil);
	                return; // Hata durumunda fonksiyondan Ã§Ä±k
	            }
	            // DosyayÄ± kapatma
	            f_close(&fil);
	        } else {
	            // Dosya oluÅŸturma/aÃ§ma baÅŸarÄ±sÄ±z oldu
	            // Hata iÅŸleme kodlarÄ± buraya eklenebilir
	        }
	    }
	}

    }
//------------------------------------------------------------------------------------------------
/* USER CODE END 4 */

void Error_Handler(void)
{
  __disable_irq();
  while (1)
  {
  }
}
